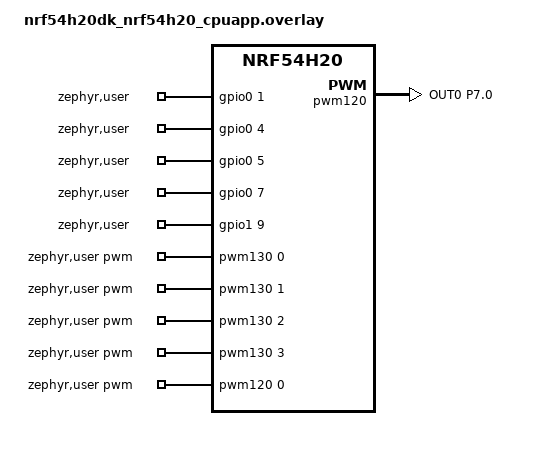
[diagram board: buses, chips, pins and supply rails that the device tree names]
/*
 * Copyright (c) 2024 Nordic Semiconductor ASA
 * SPDX-License-Identifier: Apache-2.0
 *
 * Test requires wire connection between:
 *  - PWM130 OUT[0] at P0.00 <-> GPIO input at P0.01
 *  - PWM130 OUT[1] at P0.02 <-> GPIO input at P0.04
 *  - PWM130 OUT[2] at P0.03 <-> GPIO input at P0.05
 *  - PWM130 OUT[3] at P0.06 <-> GPIO input at P0.07
 *  - PWM120 OUT[0] at P7.00 <-> GPIO input at P1.09
 */

/ {
	zephyr,user {
		pwms = <&pwm130 0 160000 PWM_POLARITY_NORMAL>,
		       <&pwm130 1 160000 PWM_POLARITY_NORMAL>,
		       <&pwm130 2 160000 PWM_POLARITY_NORMAL>,
		       <&pwm130 3 160000 PWM_POLARITY_NORMAL>,
		       <&pwm120 0 80000 PWM_POLARITY_NORMAL>;
		gpios = <&gpio0 1 GPIO_ACTIVE_HIGH>,
			<&gpio0 4 GPIO_ACTIVE_HIGH>,
			<&gpio0 5 GPIO_ACTIVE_HIGH>,
			<&gpio0 7 GPIO_ACTIVE_HIGH>,
			<&gpio1 9 GPIO_ACTIVE_HIGH>;
	};
};

&pinctrl {
	pwm130_default: pwm130_default {
		group1 {
			psels = <NRF_PSEL(PWM_OUT0, 0, 0)>,
				<NRF_PSEL(PWM_OUT1, 0, 2)>,
				<NRF_PSEL(PWM_OUT2, 0, 3)>,
				<NRF_PSEL(PWM_OUT3, 0, 6)>;
		};
	};

	pwm130_sleep: pwm130_sleep {
		group1 {
			psels = <NRF_PSEL(PWM_OUT0, 0, 0)>,
				<NRF_PSEL(PWM_OUT1, 0, 2)>,
				<NRF_PSEL(PWM_OUT2, 0, 3)>,
				<NRF_PSEL(PWM_OUT3, 0, 6)>;
			low-power-enable;
		};
	};

	pwm120_default: pwm120_default {
		group1 {
			psels = <NRF_PSEL(PWM_OUT0, 7, 0)>;
		};
	};
	pwm120_sleep: pwm120_sleep {
		group1 {
			psels = <NRF_PSEL(PWM_OUT0, 7, 0)>;
			low-power-enable;
		};
	};
};

&gpio1 {
	status = "okay";
};

&pwm120 {
	status = "okay";
	pinctrl-0 = <&pwm120_default>;
	pinctrl-1 = <&pwm120_sleep>;
	pinctrl-names = "default", "sleep";
	memory-regions = <&dma_fast_region>;
};

&dma_fast_region {
	status = "okay";
};
